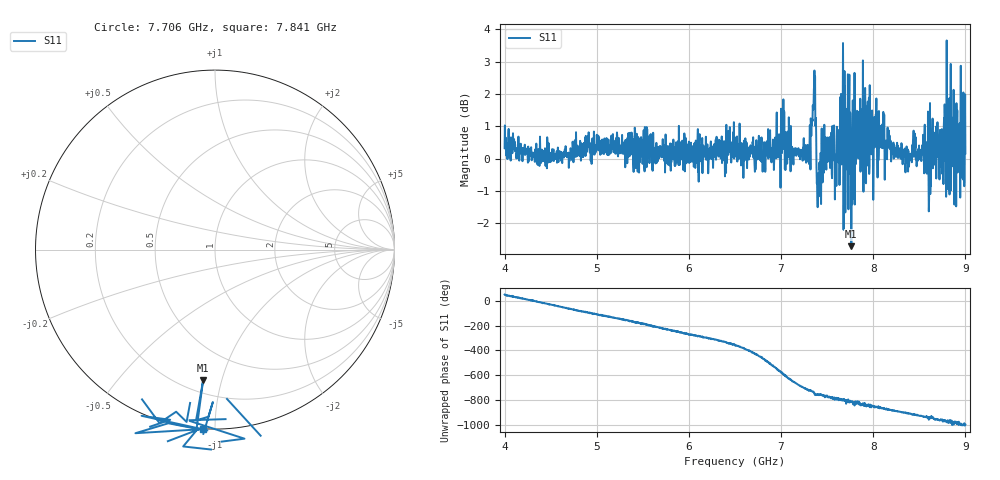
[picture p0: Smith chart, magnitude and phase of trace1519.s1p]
! Created with skrf 1.8.0 (http://scikit-rf.org).
# Hz S RI R 50.0
!freq ReS11 ImS11
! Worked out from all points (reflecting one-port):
!   1601 points, 4 GHz to 9 GHz, reference 50 ohm
!   lowest |S11| = -2.7 dB at 7.762 GHz (marker M1), VSWR 6.46, Z = 13.9 - j43.7 ohm
!   phase of S11 starts at 52 deg and turns -1053 deg over the sweep
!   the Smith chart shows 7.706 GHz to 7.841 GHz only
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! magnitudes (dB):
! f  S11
! 4 GHz  0.3
! 4.625 GHz  -0.1
! 5.25 GHz  0.2
! 5.875 GHz  0.2
! 6.5 GHz  0.4
! 6.806 GHz  0.2
! 7.022 GHz  0.6
! 7.125 GHz  0.1
! 7.294 GHz  -0.1
! 7.347 GHz  1.5
! 7.366 GHz  1.5
! 7.409 GHz  -1.2
! 7.481 GHz  0.3
! 7.609 GHz  0.0
! 7.65 GHz  2.0
! 7.703 GHz  -0.3
! 7.731 GHz  -1.6
! 7.75 GHz  1.4
! 7.762 GHz  -2.7
! 7.788 GHz  -0.6
! 7.822 GHz  0.8
! 7.891 GHz  -0.1
! 8.375 GHz  0.3
! 8.603 GHz  -1.6
! 8.656 GHz  0.8
! 8.766 GHz  1.0
! 8.8 GHz  1.3
! 9 GHz  0.2
